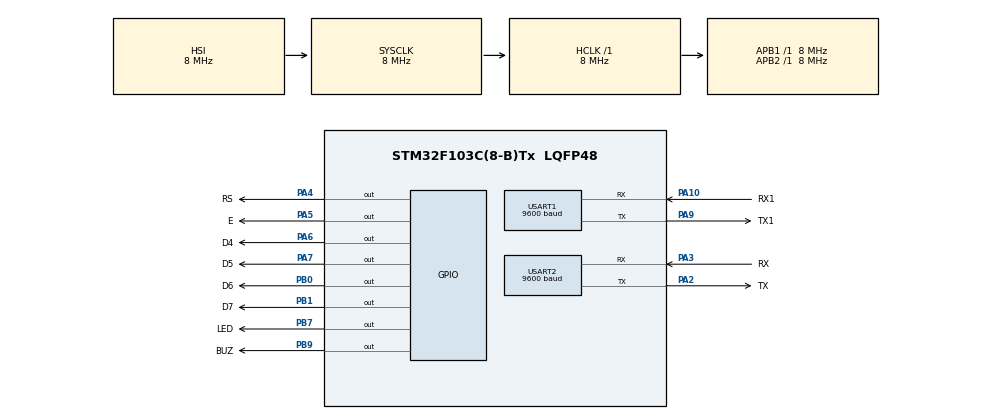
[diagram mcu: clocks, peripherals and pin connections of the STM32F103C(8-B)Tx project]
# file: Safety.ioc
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Mcu.Family=STM32F1
Mcu.Name=STM32F103C(8-B)Tx
Mcu.Package=LQFP48
NVIC.PriorityGroup=NVIC_PRIORITYGROUP_4
NVIC.USART1_IRQn=true\:0\:0\:false\:false\:true\:true\:true\:true
NVIC.USART2_IRQn=true\:1\:0\:true\:false\:true\:true\:true\:true
PA10.GPIO_Label=RX1
PA10.Mode=Asynchronous
PA10.Signal=USART1_RX
PA13.Mode=Serial_Wire
PA13.Signal=SYS_JTMS-SWDIO
PA14.Mode=Serial_Wire
PA14.Signal=SYS_JTCK-SWCLK
PA2.GPIO_Label=TX
PA2.Mode=Asynchronous
PA2.Signal=USART2_TX
PA3.GPIO_Label=RX
PA3.Mode=Asynchronous
PA3.Signal=USART2_RX
PA4.GPIO_Label=RS
PA4.Signal=GPIO_Output
PA5.GPIO_Label=E
PA5.Signal=GPIO_Output
PA6.GPIO_Label=D4
PA6.Signal=GPIO_Output
PA7.GPIO_Label=D5
PA7.Signal=GPIO_Output
PA9.GPIO_Label=TX1
PA9.Mode=Asynchronous
PA9.Signal=USART1_TX
PB0.GPIO_Label=D6
PB0.Signal=GPIO_Output
PB1.GPIO_Label=D7
PB1.Signal=GPIO_Output
PB7.GPIO_Label=LED
PB7.Signal=GPIO_Output
PB9.GPIO_Label=BUZ
PB9.Signal=GPIO_Output
PD0-OSC_IN.Mode=HSE-External-Oscillator
PD0-OSC_IN.Signal=RCC_OSC_IN
PD1-OSC_OUT.Mode=HSE-External-Oscillator
PD1-OSC_OUT.Signal=RCC_OSC_OUT
ProjectManager.HeapSize=0x200
ProjectManager.StackSize=0x400
ProjectManager.TargetToolchain=MDK-ARM V5.32
RCC.AHBFreq_Value=8000000
RCC.APB1Freq_Value=8000000
RCC.APB1TimFreq_Value=8000000
RCC.APB2Freq_Value=8000000
RCC.APB2TimFreq_Value=8000000
RCC.HCLKFreq_Value=8000000
RCC.SYSCLKFreq_VALUE=8000000
RCC.USBFreq_Value=8000000
USART1.BaudRate=9600
USART1.VirtualMode=VM_ASYNC
USART2.BaudRate=9600
USART2.VirtualMode=VM_ASYNC
board=custom

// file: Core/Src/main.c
/* USER CODE BEGIN Header */
/**
  ******************************************************************************
  * @file           : main.c
  * @brief          : Main program body
  ******************************************************************************
  * @attention
  *
  * Copyright (c) 2026 STMicroelectronics.
  * All rights reserved.
  *
  * This software is licensed under terms that can be found in the LICENSE file
  * in the root directory of this software component.
  * If no LICENSE file comes with this software, it is provided AS-IS.
  *
  ******************************************************************************
  */
/* USER CODE END Header */
#include "main.h"

/* USER CODE BEGIN Includes */
#include <stdio.h>
#include <string.h>
#include <stdbool.h>
#include <stdlib.h>
#include "lcd.h"
/* USER CODE END Includes */

UART_HandleTypeDef huart1;
UART_HandleTypeDef huart2;

/* USER CODE BEGIN PV */
char current_error_id[20] = {0};
char current_error_action[30] = {0};

typedef struct {
    char name[50];
    int phase;
    char target[20];
    bool is_valid;
} TaskDisplay;

TaskDisplay lcd_queue[2];

uint8_t rx_data1, rx_data2;
char buff1[64], buff2[128];
int idx1 = 0, idx2 = 0;

volatile bool lcd_needs_update = false;
volatile bool is_error_active = false;
volatile bool is_error_solved_screen = false;
uint32_t error_solved_timer = 0;

volatile bool is_worker_screen_active = false;
int worker_screen_line = 0;
uint32_t worker_screen_timer = 0;
char worker_id_to_show[20] = {0};

void Process_Terminal_Command(char* cmd);
void Process_Central_Command(char* cmd);
void Refresh_LCD(void);
void Shift_Queue_Up(int line_to_clear);
/* USER CODE END PV */

void SystemClock_Config(void);
static void MX_GPIO_Init(void);
static void MX_USART2_UART_Init(void);
static void MX_USART1_UART_Init(void);
/* USER CODE BEGIN PFP */
bool Warning( char buff[30] );
void Transfer( char buff[30] );

void Check_Central_Commands(char* cmd_buff);
/* USER CODE END PFP */

int main(void)
{

  /* MCU Configuration--------------------------------------------------------*/

  /* Reset of all peripherals, Initializes the Flash interface and the Systick. */
  HAL_Init();

  /* Configure the system clock */
  SystemClock_Config();

  /* Initialize all configured peripherals */
  MX_GPIO_Init();
  MX_USART2_UART_Init();
  MX_USART1_UART_Init();
  /* USER CODE BEGIN 2 */
	HAL_UART_Receive_IT(&huart1, &rx_data1, 1);
	HAL_UART_Receive_IT(&huart2, &rx_data2, 1);

	LCD_Init();
	lcd_queue[0].is_valid = false;
	lcd_queue[1].is_valid = false;

	lcd_needs_update = true;
  /* USER CODE END 2 */

  /* Infinite loop */
  /* USER CODE BEGIN WHILE */
  while (1)
  {
      if (lcd_needs_update) {
          Refresh_LCD();
          lcd_needs_update = false;
      }

      if (is_error_solved_screen) {
          if (HAL_GetTick() - error_solved_timer >= 1000) {
              is_error_solved_screen = false;
              HAL_UART_Transmit(&huart2, (uint8_t*)"CMD_TIMER:RESUME\r\n", 18, 100);
              lcd_needs_update = true;
          }
      }

      if (is_worker_screen_active && !is_error_active && !is_error_solved_screen) {
          if (HAL_GetTick() - worker_screen_timer >= 5000) {
              is_worker_screen_active = false;
              Shift_Queue_Up(worker_screen_line);
              lcd_needs_update = true;
          }
      }

    /* USER CODE END WHILE */

}
}

void SystemClock_Config(void)
{
  RCC_OscInitTypeDef RCC_OscInitStruct = {0};
  RCC_ClkInitTypeDef RCC_ClkInitStruct = {0};

  /** Initializes the RCC Oscillators according to the specified parameters
  * in the RCC_OscInitTypeDef structure.
  */
  RCC_OscInitStruct.OscillatorType = RCC_OSCILLATORTYPE_HSI;
  RCC_OscInitStruct.HSIState = RCC_HSI_ON;
  RCC_OscInitStruct.HSICalibrationValue = RCC_HSICALIBRATION_DEFAULT;
  RCC_OscInitStruct.PLL.PLLState = RCC_PLL_NONE;
  if (HAL_RCC_OscConfig(&RCC_OscInitStruct) != HAL_OK)
  {
    Error_Handler();
  }

  /** Initializes the CPU, AHB and APB buses clocks
  */
  RCC_ClkInitStruct.ClockType = RCC_CLOCKTYPE_HCLK|RCC_CLOCKTYPE_SYSCLK
                              |RCC_CLOCKTYPE_PCLK1|RCC_CLOCKTYPE_PCLK2;
  RCC_ClkInitStruct.SYSCLKSource = RCC_SYSCLKSOURCE_HSI;
  RCC_ClkInitStruct.AHBCLKDivider = RCC_SYSCLK_DIV1;
  RCC_ClkInitStruct.APB1CLKDivider = RCC_HCLK_DIV1;
  RCC_ClkInitStruct.APB2CLKDivider = RCC_HCLK_DIV1;

  if (HAL_RCC_ClockConfig(&RCC_ClkInitStruct, FLASH_LATENCY_0) != HAL_OK)
  {
    Error_Handler();
  }
}

static void MX_USART1_UART_Init(void)
{

  huart1.Instance = USART1;
  huart1.Init.BaudRate = 9600;
  huart1.Init.WordLength = UART_WORDLENGTH_8B;
  huart1.Init.StopBits = UART_STOPBITS_1;
  huart1.Init.Parity = UART_PARITY_NONE;
  huart1.Init.Mode = UART_MODE_TX_RX;
  huart1.Init.HwFlowCtl = UART_HWCONTROL_NONE;
  huart1.Init.OverSampling = UART_OVERSAMPLING_16;
  if (HAL_UART_Init(&huart1) != HAL_OK)
  {
    Error_Handler();
  }

}

static void MX_USART2_UART_Init(void)
{

  huart2.Instance = USART2;
  huart2.Init.BaudRate = 9600;
  huart2.Init.WordLength = UART_WORDLENGTH_8B;
  huart2.Init.StopBits = UART_STOPBITS_1;
  huart2.Init.Parity = UART_PARITY_NONE;
  huart2.Init.Mode = UART_MODE_TX_RX;
  huart2.Init.HwFlowCtl = UART_HWCONTROL_NONE;
  huart2.Init.OverSampling = UART_OVERSAMPLING_16;
  if (HAL_UART_Init(&huart2) != HAL_OK)
  {
    Error_Handler();
  }

}

static void MX_GPIO_Init(void)
{
  GPIO_InitTypeDef GPIO_InitStruct = {0};

  /* GPIO Ports Clock Enable */
  __HAL_RCC_GPIOD_CLK_ENABLE();
  __HAL_RCC_GPIOA_CLK_ENABLE();
  __HAL_RCC_GPIOB_CLK_ENABLE();

  /*Configure GPIO pin Output Level */
  HAL_GPIO_WritePin(GPIOA, RS_Pin|E_Pin|D4_Pin|D5_Pin, GPIO_PIN_RESET);

  /*Configure GPIO pin Output Level */
  HAL_GPIO_WritePin(GPIOB, D6_Pin|D7_Pin|LED_Pin|BUZ_Pin, GPIO_PIN_RESET);

  /*Configure GPIO pins : RS_Pin E_Pin D4_Pin D5_Pin */
  GPIO_InitStruct.Pin = RS_Pin|E_Pin|D4_Pin|D5_Pin;
  GPIO_InitStruct.Mode = GPIO_MODE_OUTPUT_PP;
  GPIO_InitStruct.Pull = GPIO_NOPULL;
  GPIO_InitStruct.Speed = GPIO_SPEED_FREQ_LOW;
  HAL_GPIO_Init(GPIOA, &GPIO_InitStruct);

  /*Configure GPIO pins : D6_Pin D7_Pin LED_Pin BUZ_Pin */
  GPIO_InitStruct.Pin = D6_Pin|D7_Pin|LED_Pin|BUZ_Pin;
  GPIO_InitStruct.Mode = GPIO_MODE_OUTPUT_PP;
  GPIO_InitStruct.Pull = GPIO_NOPULL;
  GPIO_InitStruct.Speed = GPIO_SPEED_FREQ_LOW;
  HAL_GPIO_Init(GPIOB, &GPIO_InitStruct);

}

/* USER CODE BEGIN 4 */
void HAL_UART_ErrorCallback(UART_HandleTypeDef *huart) {
    if (huart->Instance == USART1) {
        __HAL_UART_CLEAR_OREFLAG(huart);
        HAL_UART_Receive_IT(&huart1, &rx_data1, 1);
    }
    else if (huart->Instance == USART2) {
        __HAL_UART_CLEAR_OREFLAG(huart);
        HAL_UART_Receive_IT(&huart2, &rx_data2, 1);
    }
}

void HAL_UART_RxCpltCallback(UART_HandleTypeDef *huart) {
    if (huart->Instance == USART1) {
        if (rx_data1 == '\n' || rx_data1 == '\r') {
            if (idx1 > 0) {
                buff1[idx1] = '\0';
                Process_Terminal_Command(buff1);
                idx1 = 0;
            }
        } else {
            if (idx1 < sizeof(buff1) - 1) {
                buff1[idx1++] = rx_data1;
            }
        }
        HAL_UART_Receive_IT(&huart1, &rx_data1, 1);
    }

    if (huart->Instance == USART2) {
        if (rx_data2 == '\n' || rx_data2 == '\r') {
            if (idx2 > 0) {
                buff2[idx2] = '\0';
                Process_Central_Command(buff2);
                idx2 = 0;
            }
        } else {
            if (idx2 < sizeof(buff2) - 1) {
                buff2[idx2++] = rx_data2;
            }
        }
        HAL_UART_Receive_IT(&huart2, &rx_data2, 1);
    }
}

void Process_Terminal_Command(char* cmd) {
    char id[20] = {0};
    char action[30] = {0};

    char* colon_ptr = strchr(cmd, ':');
    if (colon_ptr) {
        int id_len = colon_ptr - cmd;
        if (id_len < 20) {
            strncpy(id, cmd, id_len);
            id[id_len] = '\0';
        }

        char* action_ptr = colon_ptr + 1;
        while(*action_ptr == ' ') action_ptr++;
        strncpy(action, action_ptr, sizeof(action)-1);

        action[strcspn(action, "\r\n")] = '\0';

        if (strcmp(action, "CLOTH") == 0 || strcmp(action, "DISTANCE") == 0) {
            is_error_active = true;
            is_worker_screen_active = false;

            strcpy(current_error_id, id);
            strcpy(current_error_action, action);

            HAL_GPIO_WritePin(GPIOB, GPIO_PIN_7, GPIO_PIN_SET);
            HAL_GPIO_WritePin(GPIOB, GPIO_PIN_9, GPIO_PIN_SET);

            HAL_UART_Transmit(&huart2, (uint8_t*)"CMD_TIMER:FREEZE\r\n", 18, 100);

            char log_pkg[128];
            snprintf(log_pkg, sizeof(log_pkg), "LOG_ERROR:ID:%s:%s\r\n", id, action);
            HAL_UART_Transmit(&huart2, (uint8_t*)log_pkg, strlen(log_pkg), 100);

            lcd_needs_update = true;
        }
        else if (strcmp(action, "-") == 0) {
            if (is_error_active) {
                is_error_active = false;
                is_error_solved_screen = true;

                HAL_GPIO_WritePin(GPIOB, GPIO_PIN_7, GPIO_PIN_RESET);
                HAL_GPIO_WritePin(GPIOB, GPIO_PIN_9, GPIO_PIN_RESET);

                error_solved_timer = HAL_GetTick();
                lcd_needs_update = true;
            }
        }
        else if (strcmp(action, "1") == 0 || strcmp(action, "2") == 0) {
            if (is_error_active || is_error_solved_screen || is_worker_screen_active) return;

            int selected_line = atoi(action) - 1;

            if (lcd_queue[selected_line].is_valid) {
                char tx_central[128];
                snprintf(tx_central, sizeof(tx_central), "%s: BONUS\r\n", id);
                HAL_UART_Transmit(&huart2, (uint8_t*)tx_central, strlen(tx_central), 100);

                strcpy(worker_id_to_show, id);
                worker_screen_line = selected_line;
            }
        }
    }
}

void Process_Central_Command(char* cmd) {
    char* header_ptr = strstr(cmd, "[CENTRAL_TASK]");

    if (header_ptr != NULL) {
        char t_name[50] = {0};
        char t_target[20] = {0};
        int t_phase = 1;

        char* task_ptr = strstr(header_ptr, "Task:");
        char* target_ptr = strstr(header_ptr, "|Target:");
        char* phase_ptr = strstr(header_ptr, "|Phase:");

        if (task_ptr && target_ptr && phase_ptr) {
            task_ptr += 5;
            int name_len = target_ptr - task_ptr;
            if (name_len < 50) {
                strncpy(t_name, task_ptr, name_len);
                t_name[name_len] = '\0';
            }

            target_ptr += 8;
            int target_len = phase_ptr - target_ptr;
            if (target_len < 20) {
                strncpy(t_target, target_ptr, target_len);
                t_target[target_len] = '\0';
            }

            phase_ptr += 7;
            t_phase = atoi(phase_ptr);

            bool found = false;
            for (int i = 0; i < 2; i++) {
                if (lcd_queue[i].is_valid && strcmp(lcd_queue[i].name, t_name) == 0) {
                    lcd_queue[i].phase = t_phase;
                    found = true;
                    break;
                }
            }

            if (!found) {
                for (int i = 0; i < 2; i++) {
                    if (!lcd_queue[i].is_valid) {
                        strcpy(lcd_queue[i].name, t_name);
                        strcpy(lcd_queue[i].target, t_target);
                        lcd_queue[i].phase = t_phase;
                        lcd_queue[i].is_valid = true;
                        break;
                    }
                }
            }
            lcd_needs_update = true;
        }
    }
    else if (strstr(cmd, "[CENTRAL_OK]") != NULL) {
        is_worker_screen_active = true;
        worker_screen_timer = HAL_GetTick();
        lcd_needs_update = true;
    }
    else if (strstr(cmd, "[CENTRAL_REJECT]") != NULL) {
        HAL_UART_Transmit(&huart1, (uint8_t*)"[SYSTEM]: Access Denied! Not your group phase.\r\n", 48, 100);
    }
    else if (strstr(cmd, "[CENTRAL] TIMEOUT_ASSIGNED") != NULL) {
        char t_name[50] = {0};
        char* assign_ptr = strstr(cmd, "ASSIGNED:");
        if (assign_ptr) {
            assign_ptr += 9;
            char* colon_ptr = strchr(assign_ptr, ':');
            if (colon_ptr) {
                int n_len = colon_ptr - assign_ptr;
                strncpy(t_name, assign_ptr, n_len);
                t_name[n_len] = '\0';

                for (int i = 0; i < 2; i++) {
                    if (lcd_queue[i].is_valid && strcmp(lcd_queue[i].name, t_name) == 0) {
                        snprintf(worker_id_to_show, sizeof(worker_id_to_show), "RND: Active");
                        worker_screen_line = i;
                        is_worker_screen_active = true;
                        worker_screen_timer = HAL_GetTick();
                        break;
                    }
                }
                lcd_needs_update = true;
            }
        }
    }
}

void Shift_Queue_Up(int line_to_clear) {
    if (line_to_clear == 0) {
        lcd_queue[0] = lcd_queue[1];
        lcd_queue[1].is_valid = false;
    } else if (line_to_clear == 1) {
        lcd_queue[1].is_valid = false;
    }
}

void Refresh_LCD(void) {
    if (is_error_active) {
        char line1[32];
        char line2[32];

        LCD_Clear();

        snprintf(line1, sizeof(line1), "Error: %s", current_error_id);
        LCD_Goto(1, 1);
        LCD_Print(line1);

        snprintf(line2, sizeof(line2), "[%s]", current_error_action);
        LCD_Goto(2, 1);
        LCD_Print(line2);

        return;
    }

    if (is_error_solved_screen) {
        LCD_Clear();
        LCD_Goto(1, 1);
        LCD_Print("Error Solved!");
        return;
    }

    LCD_Clear();
    bool has_task = false;

    for (int i = 0; i < 2; i++) {
        if (is_worker_screen_active && worker_screen_line == i) {
            char display_str[32];
            snprintf(display_str, sizeof(display_str), "Worker ID: %s", worker_id_to_show);
            LCD_Goto(i + 1, 1);
            LCD_Print(display_str);
            has_task = true;
        }
        else if (lcd_queue[i].is_valid) {
            char display_str[40];
            int grp_num = lcd_queue[i].target[7] - '0';
            char phases_text[15] = {0};

            if (grp_num == 2) {
                if (lcd_queue[i].phase == 1) strcpy(phases_text, "2");
                else if (lcd_queue[i].phase == 2) strcpy(phases_text, "2,3");
                else if (lcd_queue[i].phase == 3) strcpy(phases_text, "2,3,4");
            }
            else if (grp_num == 3) {
                if (lcd_queue[i].phase == 1) strcpy(phases_text, "3");
                else if (lcd_queue[i].phase == 2) strcpy(phases_text, "3,4");
                else if (lcd_queue[i].phase == 3) strcpy(phases_text, "3,4,2");
            }
            else if (grp_num == 4) {
                if (lcd_queue[i].phase == 1) strcpy(phases_text, "4");
                else if (lcd_queue[i].phase == 2) strcpy(phases_text, "4,3");
                else if (lcd_queue[i].phase == 3) strcpy(phases_text, "4,3,2");
            }

            if (lcd_queue[i].phase == 4) {
                strcpy(phases_text, "X");
            }

            snprintf(display_str, sizeof(display_str), "%s - %s", lcd_queue[i].name, phases_text);

            LCD_Goto(i + 1, 1);
            LCD_Print(display_str);
            has_task = true;
        }
    }

    if (!has_task) {
        LCD_Goto(1, 1);
        LCD_Print("Waiting Tasks...");
    }
}
/* USER CODE END 4 */

void Error_Handler(void)
{
  __disable_irq();
  while (1)
  {
  }
}
